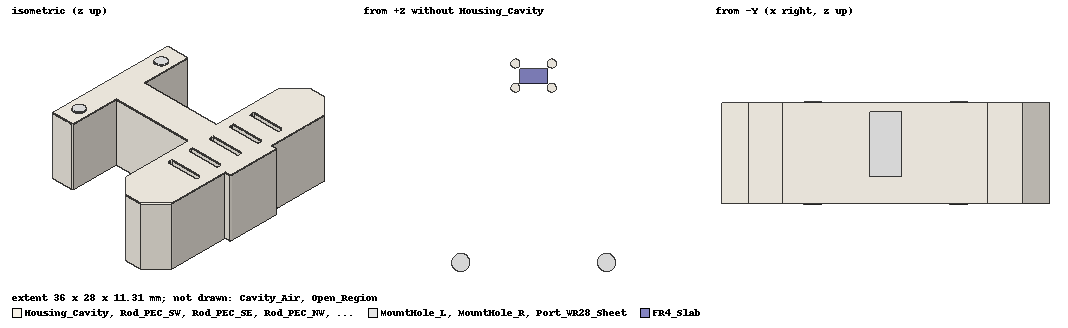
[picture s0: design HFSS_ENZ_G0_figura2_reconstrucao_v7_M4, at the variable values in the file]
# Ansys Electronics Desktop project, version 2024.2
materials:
  vacuum: permittivity=1
  pec: conductivity=1e+30
  FR4_epoxy: permittivity=4.4 dielectric_loss_tangent=0.02
  air: permittivity=1.0006 permeability=1.0000004

design HFSS_ENZ_G0_figura2_reconstrucao_v7_M4 (HFSS, HFSS Modal Network, model units mm)
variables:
  frequencia_adaptativa = 25.87GHz
  frequencia_sweep_inicio = 25GHz
  frequencia_sweep_fim = 27GHz
  cavidade_area_plana = 108mm2
  cavidade_comprimento_interno_exploratorio = 18mm
  cavidade_largura_interna_exploratoria = 6mm
  corpo_comprimento_externo = 36mm
  corpo_largura_externa_exploratoria = 9mm
  corpo_altura_externa = 11.11mm
  altura_interna_wr28 = 7.11mm
  largura_interna_wr28 = 3.56mm
  espessura_parede_lateral = 1mm
  espessura_tampa = 1mm
  espessura_fundo_exploratoria = 3mm
  flange_largura = 22.5mm
  flange_comprimento_exploratorio = 4mm
  comprimento_total_eixo_y = 27mm
  plano_porta_y = -18mm
  chanfro = 3mm  # tune 1.5mm..4.5mm
  degrau_largura = 9mm  # tune 4.5mm..13.5mm
  degrau_altura = 1mm  # tune 0.5mm..1.5mm
  ranhura_comprimento = 5.66mm
  ranhura_largura = 0.8mm
  ranhura_passo_exploratorio = 4mm
  fr4_dimensao_x = 3mm
  fr4_dimensao_y = 1.65mm
  fr4_epsilon_r_exploratorio = 4.4
  fr4_tan_delta_exploratorio = 0.02
  pino_diametro = 1mm
  pino_offset_x_exploratorio = 2mm
  pino_offset_y_exploratorio = 1.325mm
  parafuso_diametro_exploratorio = 2mm
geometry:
  Housing_Cavity [pec] = polyline(z=0mm, xy: (-corpo_comprimento_externo/2, chanfro) (-corpo_comprimento_externo/2+chanfro, 0mm) (corpo_comprimento_externo/2-chanfro, 0mm) (corpo_comprimento_externo/2, chanfro) (corpo_comprimento_externo/2, corpo_largura_externa_exploratoria-chanfro) (corpo_comprimento_externo/2-chanfro, corpo_largura_externa_exploratoria) (degrau_largura/2, corpo_largura_externa_exploratoria) (degrau_largura/2, corpo_largura_externa_exploratoria+degrau_altura) (-degrau_largura/2, corpo_largura_externa_exploratoria+degrau_altura) (-degrau_largura/2, corpo_largura_externa_exploratoria) (-corpo_comprimento_externo/2+chanfro, corpo_largura_externa_exploratoria) (-corpo_comprimento_externo/2, corpo_largura_externa_exploratoria-chanfro) (-corpo_comprimento_externo/2, chanfro), closed, covered)
  Housing_Cavity.sweep_along_vector((0mm, 0mm, corpo_altura_externa))
  Housing_Feed = box(corner=(-2.78mm, plano_porta_y, 0mm), size=(5.56mm, 19.5mm, corpo_altura_externa))
  Housing_Flange = box(corner=(-11.25mm, plano_porta_y, 0mm), size=(flange_largura, flange_comprimento_exploratorio, corpo_altura_externa))
  Cavity_Air [vacuum] = box(corner=(-9mm, 1.5mm, espessura_fundo_exploratoria), size=(cavidade_comprimento_interno_exploratorio, cavidade_largura_interna_exploratoria, altura_interna_wr28))
  Feed_Air = box(corner=(-1.78mm, plano_porta_y, espessura_fundo_exploratoria), size=(largura_interna_wr28, 19.5mm, altura_interna_wr28))
  Port_WR28_Sheet = rectangle(corner=(-1.78mm, plano_porta_y, espessura_fundo_exploratoria), z_size=altura_interna_wr28, x_size=largura_interna_wr28)
  Slot_Air_1 = box(corner=(-2*ranhura_passo_exploratorio-ranhura_largura/2, 1.67mm, 10.11mm), size=(ranhura_largura, ranhura_comprimento, 1.2mm))
  Slot_Air_2 = box(corner=(-ranhura_passo_exploratorio-ranhura_largura/2, 1.67mm, 10.11mm), size=(ranhura_largura, ranhura_comprimento, 1.2mm))
  Slot_Air_3 = box(corner=(-ranhura_largura/2, 1.67mm, 10.11mm), size=(ranhura_largura, ranhura_comprimento, 1.2mm))
  Slot_Air_4 = box(corner=(ranhura_passo_exploratorio-ranhura_largura/2, 1.67mm, 10.11mm), size=(ranhura_largura, ranhura_comprimento, 1.2mm))
  Slot_Air_5 = box(corner=(2*ranhura_passo_exploratorio-ranhura_largura/2, 1.67mm, 10.11mm), size=(ranhura_largura, ranhura_comprimento, 1.2mm))
  FR4_Slab [FR4_epoxy] = box(corner=(-1.5mm, 3.675mm, espessura_fundo_exploratoria), size=(fr4_dimensao_x, fr4_dimensao_y, altura_interna_wr28))
  Rod_PEC_NW [pec] = cylinder(axis=Z, base_centre=(-pino_offset_x_exploratorio, 4.5mm-pino_offset_y_exploratorio, espessura_fundo_exploratoria), radius=0.5mm, height=altura_interna_wr28)
  Rod_PEC_NE [pec] = cylinder(axis=Z, base_centre=(pino_offset_x_exploratorio, 4.5mm-pino_offset_y_exploratorio, espessura_fundo_exploratoria), radius=0.5mm, height=altura_interna_wr28)
  Rod_PEC_SW [pec] = cylinder(axis=Z, base_centre=(-pino_offset_x_exploratorio, 4.5mm+pino_offset_y_exploratorio, espessura_fundo_exploratoria), radius=0.5mm, height=altura_interna_wr28)
  Rod_PEC_SE [pec] = cylinder(axis=Z, base_centre=(pino_offset_x_exploratorio, 4.5mm+pino_offset_y_exploratorio, espessura_fundo_exploratoria), radius=0.5mm, height=altura_interna_wr28)
  MountHole_L [vacuum] = cylinder(axis=Z, base_centre=(-8mm, -16mm, -0.1mm), radius=1mm, height=11.31mm)
  MountHole_R [vacuum] = cylinder(axis=Z, base_centre=(8mm, -16mm, -0.1mm), radius=1mm, height=11.31mm)
  Open_Region [air] = region(percentage_offset: +X=50, -X=50, +Y=80, -Y=0, +Z=120, -Z=120)
  Housing_Cavity.unite(Housing_Feed, Housing_Flange)
  Cavity_Air_1 = Cavity_Air.copy()
  Feed_Air_1 = Feed_Air.copy()
  Housing_Cavity.subtract(Cavity_Air_1, Feed_Air_1)
  Slot_Air_1_1 = Slot_Air_1.copy()
  Slot_Air_2_1 = Slot_Air_2.copy()
  Slot_Air_3_1 = Slot_Air_3.copy()
  Slot_Air_4_1 = Slot_Air_4.copy()
  Slot_Air_5_1 = Slot_Air_5.copy()
  Housing_Cavity.subtract(Slot_Air_1_1, Slot_Air_2_1, Slot_Air_3_1, Slot_Air_4_1, Slot_Air_5_1)
  MountHole_L_1 = MountHole_L.copy()
  MountHole_R_1 = MountHole_R.copy()
  Housing_Cavity.subtract(MountHole_L_1, MountHole_R_1)
  Cavity_Air.unite(Feed_Air, Slot_Air_1..Slot_Air_5)
  FR4_Slab_1 = FR4_Slab.copy()
  Rod_PEC_NW_1 = Rod_PEC_NW.copy()
  Rod_PEC_NE_1 = Rod_PEC_NE.copy()
  Rod_PEC_SW_1 = Rod_PEC_SW.copy()
  Rod_PEC_SE_1 = Rod_PEC_SE.copy()
  Cavity_Air.subtract(FR4_Slab_1, Rod_PEC_NW_1, Rod_PEC_NE_1, Rod_PEC_SW_1, Rod_PEC_SE_1)
  coordinate_system Cut_ZX_ArrayCenter = origin=(0mm, 4.5mm, 0mm) x=(1mm, 0mm, 0mm) y=(0mm, 1mm, 0mm)
  coordinate_system Cut_XY_MidHeight = origin=(0mm, 0mm, espessura_fundo_exploratoria+altura_interna_wr28/2) x=(1mm, 0mm, 0mm) y=(0mm, 1mm, 0mm)
  coordinate_system Cut_YZ_Slot1 = origin=(-2*ranhura_passo_exploratorio, 0mm, 0mm) x=(1mm, 0mm, 0mm) y=(0mm, 1mm, 0mm)
  coordinate_system Cut_YZ_Slot2 = origin=(-ranhura_passo_exploratorio, 0mm, 0mm) x=(1mm, 0mm, 0mm) y=(0mm, 1mm, 0mm)
  coordinate_system Cut_YZ_Slot3 = origin=(0mm, 0mm, 0mm) x=(1mm, 0mm, 0mm) y=(0mm, 1mm, 0mm)
  coordinate_system Cut_YZ_Slot4 = origin=(ranhura_passo_exploratorio, 0mm, 0mm) x=(1mm, 0mm, 0mm) y=(0mm, 1mm, 0mm)
  coordinate_system Cut_YZ_Slot5 = origin=(2*ranhura_passo_exploratorio, 0mm, 0mm) x=(1mm, 0mm, 0mm) y=(0mm, 1mm, 0mm)
  coordinate_system Cut_ZX_Port = origin=(0mm, plano_porta_y, 0mm) x=(1mm, 0mm, 0mm) y=(0mm, 1mm, 0mm)
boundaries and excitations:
  Radiation_Open_5Faces: Radiation Faces=Open_Region.face(+z, -x, +y, -z, +x)
  P1_WR28_TE10: Wave Port Objects=Port_WR28_Sheet WavePortType=Modal NumModes=1 Modes{Mode1{IntLine{(0, -18, 3) -> (0, -18, 10.11)} CharImp=Zpi RenormImp=50ohm}}
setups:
  Setup_Driven_25p87_HIPOTESE: HfssDriven Frequency=25.87GHz MaxDeltaS=0.02 MaximumPasses=15 MinimumPasses=2 MinimumConvergedPasses=2 PercentRefinement=20 BasisOrder=1 PortAccuracy=2 DrivenSolverType="Direct Solver"
    sweep Sweep_25_27GHz: 25GHz to 27GHz, 201 points; Type=Interpolating SaveFields SaveRadFields InterpTolerance=0.5 InterpMaxSolns=80 InterpUsePortImped=false PassivityErrorTolerance=0.0001
    sweep Sweep_Fields_Article: point 25.65GHz; point 25.87GHz; point 26.22GHz; SaveSingleField Type=Discrete SaveFields SaveRadFields
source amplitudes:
  P1_WR28_TE10:1: 1W 0deg
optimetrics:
  Param_Chamfer_c_0_4mm: Parametric Sim._Setups=[Setup_Driven_25p87_HIPOTESE]
    sweep chanfro: LIN 0.0mm 4.0mm 1.0mm
  Param_StepWidth_8_10mm: Parametric Sim._Setups=[Setup_Driven_25p87_HIPOTESE]
    sweep degrau_largura: LIN 8.0mm 10.0mm 1.0mm
  Param_StepHeight_0p5_1p5mm: Parametric Sim._Setups=[Setup_Driven_25p87_HIPOTESE]
    sweep degrau_altura: LIN 0.5mm 1.5mm 0.5mm
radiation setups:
  FF_Sphere_2deg: Infinite Sphere Theta=-180deg..180deg step 2deg Phi=-180deg..180deg step 2deg
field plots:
  EMag_ZX_ArrayCenter_25p87: EMag_ZX_ArrayCenter_25p87 over a plane on Setup_Driven_25p87_HIPOTESE : LastAdaptive at Freq=25.87GHz Phase=0deg
  EMag_XY_MidHeight_25p87: EMag_XY_MidHeight_25p87 over a plane on Setup_Driven_25p87_HIPOTESE : LastAdaptive at Freq=25.87GHz Phase=0deg
  EMag_YZ_Slot1_25p87: EMag_YZ_Slot1_25p87 over a plane on Setup_Driven_25p87_HIPOTESE : LastAdaptive at Freq=25.87GHz Phase=0deg
  EMag_YZ_Slot2_25p87: EMag_YZ_Slot2_25p87 over a plane on Setup_Driven_25p87_HIPOTESE : LastAdaptive at Freq=25.87GHz Phase=0deg
  EMag_YZ_Slot3_25p87: EMag_YZ_Slot3_25p87 over a plane on Setup_Driven_25p87_HIPOTESE : LastAdaptive at Freq=25.87GHz Phase=0deg
  EMag_YZ_Slot4_25p87: EMag_YZ_Slot4_25p87 over a plane on Setup_Driven_25p87_HIPOTESE : LastAdaptive at Freq=25.87GHz Phase=0deg
  EMag_YZ_Slot5_25p87: EMag_YZ_Slot5_25p87 over a plane on Setup_Driven_25p87_HIPOTESE : LastAdaptive at Freq=25.87GHz Phase=0deg
  EMag_ZX_Port_25p87: EMag_ZX_Port_25p87 over a plane on Setup_Driven_25p87_HIPOTESE : LastAdaptive at Freq=25.87GHz Phase=0deg
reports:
  Fig2b_S11_25_27GHz: dB(S(P1_WR28_TE10,P1_WR28_TE10)) vs Freq on Setup_Driven_25p87_HIPOTESE : Sweep_25_27GHz
  Fig1b_d_EPlane_25p87: dB(GainCoPolar), dB(GainCrossPolar) vs Theta on Setup_Driven_25p87_HIPOTESE : LastAdaptive, FF_Sphere_2deg [Phi=0deg Freq=25.87GHz]
  Fig3d_EPlane_25p87: dB(GainCoPolar), dB(GainCrossPolar) vs Theta on Setup_Driven_25p87_HIPOTESE : LastAdaptive, FF_Sphere_2deg [Phi=0deg Freq=25.87GHz]
  Fig4_EPlane_CoCross_MultiFreq: dB(GainCoPolar), dB(GainCrossPolar) vs Theta on Setup_Driven_25p87_HIPOTESE : Sweep_Fields_Article, FF_Sphere_2deg [Phi=0deg Freq=25.65GHz,25.87GHz,26.22GHz]
  Fig4_HPlane_CoCross_MultiFreq: dB(GainCoPolar), dB(GainCrossPolar) vs Theta on Setup_Driven_25p87_HIPOTESE : Sweep_Fields_Article, FF_Sphere_2deg [Phi=90deg Freq=25.65GHz,25.87GHz,26.22GHz]
  Gain3D_25p87: dB(GainTotal) vs Theta, Phi on Setup_Driven_25p87_HIPOTESE : LastAdaptive, FF_Sphere_2deg [Freq=25.87GHz]
  Fig2b_RadiationEfficiency: RadiationEfficiency, TotalEfficiency vs Freq on Setup_Driven_25p87_HIPOTESE : Sweep_25_27GHz [frequencia_adaptativa=25.87GHz frequencia_sweep_inicio=25GHz frequencia_sweep_fim=27GHz cavidade_area_plana=0.000108 cavidade_comprimento_interno_exploratorio=18mm cavidade_largura_interna_exploratoria=6mm corpo_comprimento_externo=36mm corpo_largura_externa_exploratoria=9mm corpo_altura_externa=11.11mm altura_interna_wr28=7.11mm largura_interna_wr28=3.56mm espessura_parede_lateral=1mm espessura_tampa=1mm espessura_fundo_exploratoria=3mm flange_largura=22.5mm flange_comprimento_exploratorio=4mm comprimento_total_eixo_y=27mm plano_porta_y=-18mm chanfro=3mm degrau_largura=9mm degrau_altura=1mm ranhura_comprimento=5.66mm ranhura_largura=0.8mm ranhura_passo_exploratorio=4mm fr4_dimensao_x=3mm fr4_dimensao_y=1.65mm fr4_epsilon_r_exploratorio=4.4 fr4_tan_delta_exploratorio=0.02 pino_diametro=1mm pino_offset_x_exploratorio=2mm pino_offset_y_exploratorio=1.325mm parafuso_diametro_exploratorio=2mm]
  Fig3c_PeakRealizedGain: PeakRealizedGain vs Freq on Setup_Driven_25p87_HIPOTESE : Sweep_25_27GHz [frequencia_adaptativa=25.87GHz frequencia_sweep_inicio=25GHz frequencia_sweep_fim=27GHz cavidade_area_plana=0.000108 cavidade_comprimento_interno_exploratorio=18mm cavidade_largura_interna_exploratoria=6mm corpo_comprimento_externo=36mm corpo_largura_externa_exploratoria=9mm corpo_altura_externa=11.11mm altura_interna_wr28=7.11mm largura_interna_wr28=3.56mm espessura_parede_lateral=1mm espessura_tampa=1mm espessura_fundo_exploratoria=3mm flange_largura=22.5mm flange_comprimento_exploratorio=4mm comprimento_total_eixo_y=27mm plano_porta_y=-18mm chanfro=3mm degrau_largura=9mm degrau_altura=1mm ranhura_comprimento=5.66mm ranhura_largura=0.8mm ranhura_passo_exploratorio=4mm fr4_dimensao_x=3mm fr4_dimensao_y=1.65mm fr4_epsilon_r_exploratorio=4.4 fr4_tan_delta_exploratorio=0.02 pino_diametro=1mm pino_offset_x_exploratorio=2mm pino_offset_y_exploratorio=1.325mm parafuso_diametro_exploratorio=2mm]
